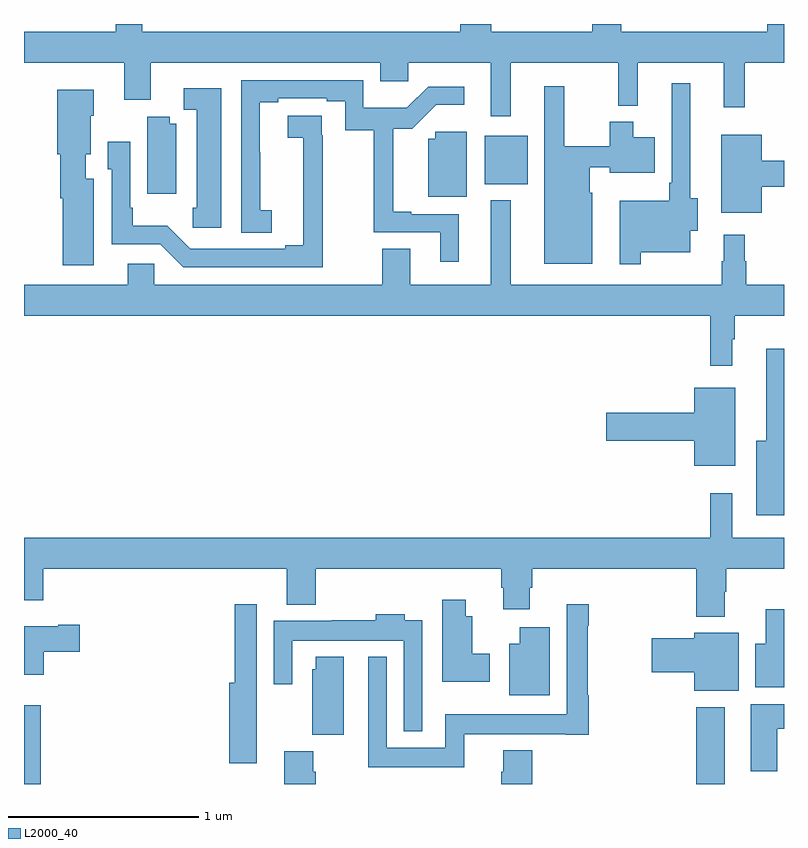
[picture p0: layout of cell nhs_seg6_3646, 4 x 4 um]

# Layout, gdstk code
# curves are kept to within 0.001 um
import gdstk
lib = gdstk.Library(unit=1e-6, precision=1e-09)
def R(c, l, rs):  # rectangles x0, y0, x1, y1
    for r in rs: c.add(gdstk.rectangle(r[:2], r[2:], *l))
def P(c, l, *ps):  # polygons
    for p in ps: c.add(gdstk.Polygon(p, *l))
L2000_40 = (2000, 40)

nhs_seg6_3646 = lib.new_cell('nhs_seg6_3646')
R(nhs_seg6_3646, L2000_40, [(323,983.5,323.089,983.914), (326.537,983.5,326.689,983.905), (325.424,986.657,325.651,986.911)])
P(nhs_seg6_3646, L2000_40, [(323.483,987.46),(323,987.46),(323,987.296),(323.528,987.296),(323.528,987.102),(323.668,987.102),(323.668,987.296),(324.875,987.296),(324.875,987.198),(325.022,987.198),(325.022,987.296),(325.457,987.296),(325.457,987.015),(325.561,987.015),(325.561,987.296),(326.128,987.296),(326.128,987.071),(326.231,987.071),(326.231,987.296),(326.684,987.296),(326.684,987.063),(326.794,987.063),(326.794,987.296),(327,987.296),(327,987.5),(326.912,987.5),(326.912,987.46),(326.143,987.46),(326.143,987.5),(325.991,987.5),(325.991,987.46),(325.46,987.46),(325.46,987.5),(325.295,987.5),(325.295,987.46),(323.622,987.46),(323.622,987.5),(323.483,987.5)],
  [(325.288,986.499),(325.039,986.499),(325.039,986.512),(324.944,986.512),(324.944,986.949),(325.043,986.949),(325.169,987.074),(325.318,987.074),(325.318,987.171),(325.128,987.171),(325.015,987.058),(324.786,987.058),(324.786,987.204),(324.144,987.204),(324.144,986.401),(324.304,986.401),(324.304,986.521),(324.243,986.521),(324.243,986.825),(324.241,986.825),(324.241,987.088),(324.337,987.088),(324.337,987.108),(324.593,987.108),(324.593,987.094),(324.69,987.094),(324.69,986.941),(324.841,986.941),(324.841,986.403),(325.19,986.403),(325.19,986.25),(325.288,986.25)],
  [(326.245,986.3),(326.506,986.3),(326.506,986.411),(326.545,986.411),(326.545,986.582),(326.506,986.582),(326.506,987.187),(326.409,987.187),(326.409,986.665),(326.397,986.665),(326.397,986.569),(326.136,986.569),(326.136,986.235),(326.245,986.235)],
  [(325.99,986.613),(325.978,986.613),(325.978,986.747),(326.084,986.747),(326.084,986.717),(326.32,986.717),(326.32,986.905),(326.206,986.905),(326.206,986.986),(326.084,986.986),(326.084,986.857),(325.843,986.857),(325.843,987.172),(325.739,987.172),(325.739,986.237),(325.99,986.237)],
  [(324.037,987.163),(323.841,987.163),(323.841,987.048),(323.909,987.048),(323.909,986.532),(323.887,986.532),(323.887,986.427),(324.037,986.427)],
  [(323.368,986.686),(323.326,986.686),(323.326,986.814),(323.352,986.814),(323.352,987.018),(323.368,987.018),(323.368,987.154),(323.174,987.154),(323.174,986.814),(323.192,986.814),(323.192,986.582),(323.204,986.582),(323.204,986.229),(323.368,986.229)],
  [(324.572,986.915),(324.566,986.915),(324.566,987.017),(324.387,987.017),(324.387,986.902),(324.469,986.902),(324.47,986.336),(324.374,986.336),(324.374,986.316),(323.874,986.316),(323.753,986.437),(323.572,986.437),(323.572,986.533),(323.559,986.533),(323.559,986.881),(323.442,986.881),(323.442,986.736),(323.463,986.736),(323.463,986.34),(323.718,986.34),(323.838,986.22),(324.572,986.22)],
  [(323.8,986.974),(323.768,986.974),(323.768,987.011),(323.648,987.011),(323.648,986.607),(323.8,986.607)],
  [(325.33,986.932),(325.164,986.932),(325.164,986.896),(325.127,986.896),(325.127,986.591),(325.33,986.591)],
  [(326.884,986.644),(327,986.644),(327,986.78),(326.884,986.78),(326.884,986.917),(326.669,986.917),(326.669,986.507),(326.884,986.507)],
  [(326.728,985.841),(326.74,985.841),(326.74,985.964),(327,985.964),(327,986.128),(326.801,986.128),(326.801,986.252),(326.794,986.252),(326.794,986.392),(326.684,986.392),(326.684,986.252),(326.673,986.252),(326.673,986.128),(325.561,986.128),(325.561,986.572),(325.457,986.572),(325.457,986.128),(325.033,986.128),(325.033,986.318),(324.886,986.318),(324.886,986.128),(323.685,986.128),(323.685,986.238),(323.546,986.238),(323.546,986.128),(323,986.128),(323,985.964),(326.611,985.964),(326.611,985.701),(326.728,985.701)],
  [(327,985.792),(326.906,985.792),(326.906,985.306),(326.855,985.306),(326.855,984.914),(327,984.914)],
  [(326.743,985.585),(326.528,985.585),(326.528,985.454),(326.064,985.454),(326.064,985.307),(326.528,985.307),(326.528,985.175),(326.743,985.175)],
  [(326.689,984.512),(326.697,984.512),(326.697,984.632),(327,984.632),(327,984.796),(326.727,984.796),(326.727,985.03),(326.611,985.03),(326.611,984.796),(323,984.796),(323,984.468),(323.102,984.468),(323.102,984.632),(324.383,984.632),(324.383,984.443),(324.536,984.443),(324.536,984.632),(325.511,984.632),(325.511,984.534),(325.523,984.534),(325.523,984.42),(325.663,984.42),(325.663,984.534),(325.676,984.534),(325.676,984.632),(326.537,984.632),(326.537,984.38),(326.689,984.38)],
  [(325.45,984.186),(325.36,984.186),(325.36,984.382),(325.324,984.382),(325.324,984.469),(325.202,984.469),(325.202,984.038),(325.45,984.038)],
  [(325.316,983.762),(325.85,983.762),(325.85,983.76),(325.973,983.76),(325.973,983.966),(325.966,983.966),(325.966,984.332),(325.973,984.332),(325.973,984.445),(325.857,984.445),(325.857,983.866),(325.218,983.866),(325.218,983.692),(324.909,983.692),(324.909,984.169),(324.812,984.169),(324.812,983.588),(325.316,983.588)],
  [(324.226,983.93),(324.225,983.93),(324.225,984.445),(324.109,984.445),(324.109,984.034),(324.08,984.034),(324.08,983.61),(324.226,983.61)],
  [(327,984.421),(326.903,984.421),(326.903,984.238),(326.849,984.238),(326.849,984.008),(327,984.008)],
  [(325.095,984.361),(325.003,984.361),(325.003,984.394),(324.851,984.394),(324.851,984.361),(324.619,984.361),(324.619,984.358),(324.315,984.358),(324.315,984.024),(324.411,984.024),(324.411,984.254),(324.999,984.254),(324.999,983.777),(325.095,983.777)],
  [(323.104,984.197),(323.293,984.197),(323.293,984.339),(323.18,984.339),(323.18,984.331),(323,984.331),(323,984.074),(323.104,984.074)],
  [(325.768,984.325),(325.61,984.325),(325.61,984.238),(325.553,984.238),(325.553,983.966),(325.768,983.966)],
  [(326.761,984.295),(326.528,984.295),(326.528,984.267),(326.304,984.267),(326.304,984.089),(326.528,984.089),(326.528,983.99),(326.761,983.99)],
  [(324.682,984.169),(324.536,984.169),(324.536,984.105),(324.518,984.105),(324.518,983.758),(324.682,983.758)],
  [(326.965,983.792),(327,983.792),(327,983.92),(326.825,983.92),(326.825,983.568),(326.965,983.568)],
  [(325.676,983.677),(325.523,983.677),(325.523,983.565),(325.511,983.565),(325.511,983.5),(325.676,983.5)],
  [(324.536,983.564),(324.523,983.564),(324.523,983.673),(324.371,983.673),(324.371,983.5),(324.536,983.5)])

lib.write_gds('nhs_seg6_3646.gds')
